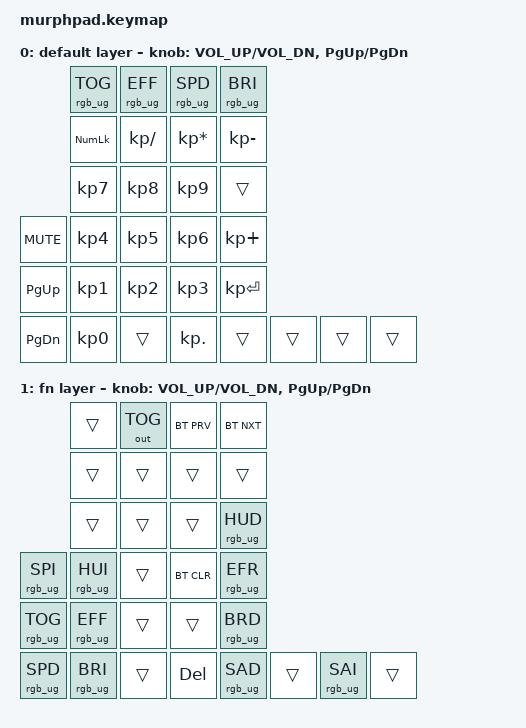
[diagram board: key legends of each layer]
/*
 * Copyright (c) 2021 Kyle McCreery
 *
 * SPDX-License-Identifier: MIT
 */

#include <behaviors.dtsi>
#include <dt-bindings/zmk/keys.h>
#include <dt-bindings/zmk/bt.h>
#include <dt-bindings/zmk/outputs.h>
#include <dt-bindings/zmk/rgb.h>

#define TIMEOUT 300

/* Layer Names*/
#define DEFAULT 0
#define FN      1

&encoder_1 {
    status = "okay";
};

&encoder_2 {
    status = "okay";
};

/* Combo Definitions*/
/ {
    combos {
        compatible = "zmk,combos";
        combo_btclr {
            timeout-ms = <TIMEOUT>;
            key-positions = <1 6>;
            bindings = <&bt BT_CLR>;
        };
        combo_reset {
            timeout-ms = <TIMEOUT>;
            key-positions = <1 3>;
            bindings = <&sys_reset>;
        };
        combo_bootloader {
            timeout-ms = <TIMEOUT>;
            key-positions = <1 2>;
            bindings = <&bootloader>;
        };
        combo_bt_nxt {
            timeout-ms = <TIMEOUT>;
            key-positions = <1 4>;
            bindings = <&bt BT_NXT>;
        };
    };

    sensors {
        compatible = "zmk,keymap-sensors";
        sensors = <&encoder_1 &encoder_2>;
    };


    keymap0: keymap {
        compatible = "zmk,keymap";

        default_layer {
        label = "default layer";
            bindings = <
                &rgb_ug RGB_TOG  &rgb_ug RGB_EFF &rgb_ug RGB_SPD &rgb_ug RGB_BRI            
                &kp KP_NUM       &kp KP_DIVIDE   &kp KP_MULTIPLY &kp KP_MINUS   
                &kp KP_N7        &kp KP_N8       &kp KP_N9       &trans //this key was replaced by the 2u
    &kp C_MUTE  &kp KP_N4        &kp KP_N5       &kp KP_N6       &kp KP_PLUS //2u key       
    &kp PG_UP   &kp KP_N1        &kp KP_N2       &kp KP_N3       &kp KP_ENTER //2u key       
    &kp PG_DN   &kp KP_N0        &trans          &kp KP_DOT      &trans &trans &trans &trans
                //2u key         //replaced                      // replaced/don't work
            >;
            sensor-bindings = <&inc_dec_kp C_VOL_UP C_VOL_DN &inc_dec_kp PG_UP PG_DN>;

        };

        fn_layer {
        label = "fn layer";
            bindings = <
                &trans      &out OUT_TOG     &bt BT_PRV       &bt BT_NXT       &trans
                &trans      &trans           &trans           &trans           &trans
                &trans      &rgb_ug RGB_HUD  &rgb_ug RGB_SPI  &rgb_ug RGB_HUI  &trans
                &bt BT_CLR  &rgb_ug RGB_EFR  &rgb_ug RGB_TOG  &rgb_ug RGB_EFF  &trans
                &trans      &rgb_ug RGB_BRD  &rgb_ug RGB_SPD  &rgb_ug RGB_BRI  &trans
                &kp DEL     &rgb_ug RGB_SAD  &trans           &rgb_ug RGB_SAI  &trans
            >;
            sensor-bindings = <&inc_dec_kp C_VOL_UP C_VOL_DN &inc_dec_kp PG_UP PG_DN>;

        };
    };
};
